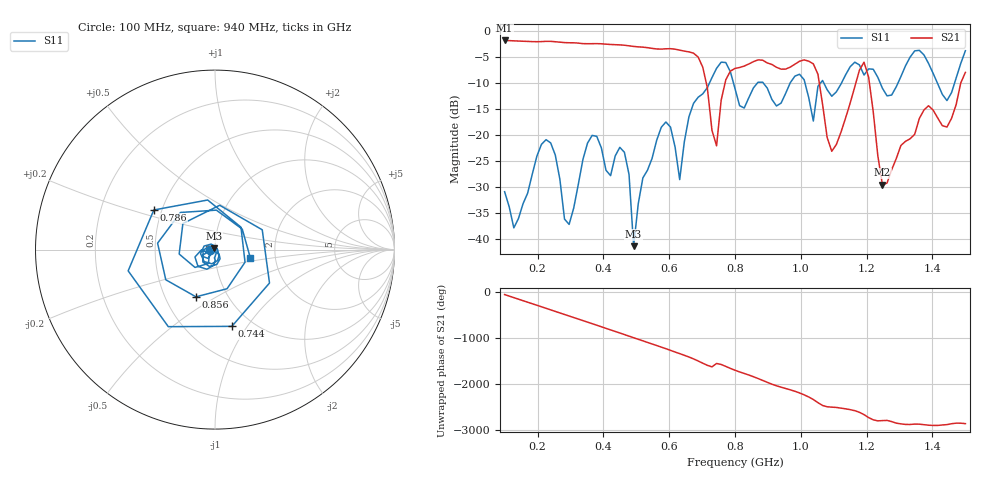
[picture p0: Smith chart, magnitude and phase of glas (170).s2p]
! NanoVNA-App
! Date: 2025-09-25 15:56:48
! Start: 100MHz Stop: 1,5GHz Points: 101
! S-Parameter data: F S11 S21 S12 S22
# Hz S RI R 50
!  Frequency  S11_Real  S11_Imag  S21_Real  S21_Imag  S12_Real  S12_Imag  S22_Real  S22_Imag
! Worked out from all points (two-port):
!   101 points, 100 MHz to 1.5 GHz, reference 50 ohm
!   highest |S21| = -1.80 dB at 100 MHz (marker M1); lowest = -29.6 dB at 1.248 GHz (marker M2)
!   |S21| within 3 dB of the highest: start of sweep to 684.2 MHz
!   lowest |S11| = -41.4 dB at 492 MHz (marker M3), VSWR 1.02, Z = 49.5 + j0.664 ohm
!   |S11| at or under -10 dB: start of sweep to 722.5 MHz; 795.4 MHz to 868.1 MHz (72.75 MHz wide, 8.75 % of centre); 885.9 MHz to 967.6 MHz (81.66 MHz wide, 8.81 % of centre) (the widest 3 of 7)
!   S12 and S22 are empty: the file has one direction only
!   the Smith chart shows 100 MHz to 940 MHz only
!   S11 on the Smith chart (normalised r, x): 100 MHz: 0.95, -0.01; 744 MHz: 0.81, -0.85; 786 MHz: 0.45, +0.24; 856 MHz: 0.71, -0.41; 940 MHz: 1.48, -0.14
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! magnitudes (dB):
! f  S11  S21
! 100 MHz  -31.0  -1.8
! 128 MHz  -37.9  -1.9
! 226 MHz  -20.9  -2.0
! 296 MHz  -37.2  -2.2
! 338 MHz  -24.7  -2.4
! 464 MHz  -23.4  -2.7
! 492 MHz  -41.4  -3.0
! 576 MHz  -18.5  -3.5
! 632 MHz  -28.6  -3.7
! 702 MHz  -12.1  -6.9
! 744 MHz  -7.2  -22.1
! 786 MHz  -7.8  -7.7
! 800 MHz  -11.1  -7.2
! 856 MHz  -10.9  -5.9
! 940 MHz  -13.9  -7.3
! 996 MHz  -8.3  -5.8
! 1.038 GHz  -17.3  -6.3
! 1.094 GHz  -12.6  -23.2
! 1.192 GHz  -8.5  -6.0
! 1.248 GHz  -11.0  -29.6
! 1.276 GHz  -12.3  -26.7
! 1.5 GHz  -3.8  -8.0
